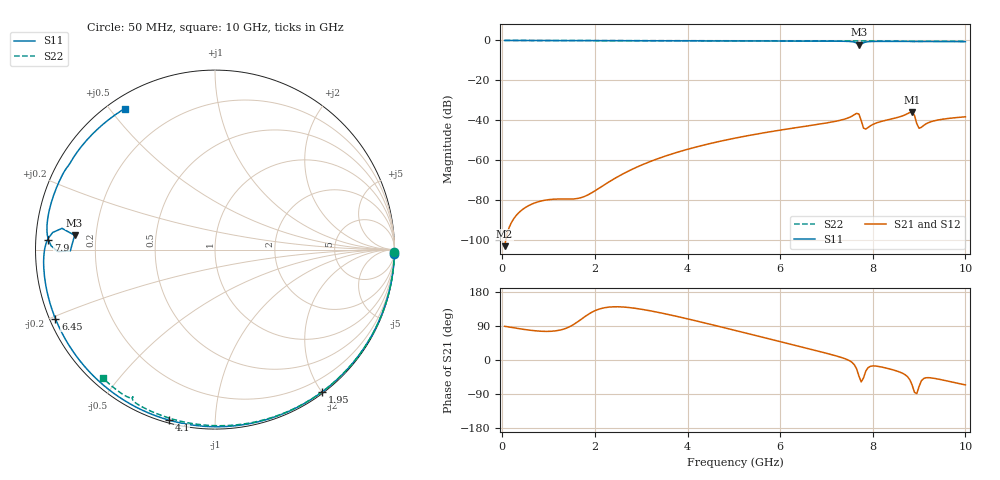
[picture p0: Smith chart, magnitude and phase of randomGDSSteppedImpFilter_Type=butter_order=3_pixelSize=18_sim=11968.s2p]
! freq	dB(S11)	phase(S11)	dB(S12)	phase(S12)
!  dB(S21)	phase(S21)	dB(S22)	phase(S22)
!S-par simulation data
#  GHz  S  DB  R 50
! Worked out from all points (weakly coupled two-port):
!   200 points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, 50 MHz to 10 GHz, reference 50 ohm
!   highest |S21| = -35.82 dB at 8.85 GHz (marker M1); lowest = -102.9 dB at 50 MHz (marker M2)
!   lowest |S11| = -2.1 dB at 7.7 GHz (marker M3), VSWR 8.35, Z = 6 + j2.51 ohm
!   |S11| at or under -10 dB: nowhere
!   |S22| runs from -0.6 to 0.0 dB; largest |S21 - S12| = 0
!   S11 on the Smith chart (normalised r, x): 50 MHz: 0, -81; 1.95 GHz: 0.02, -2.01; 4.1 GHz: 0.01, -0.77; 6.45 GHz: 0.02, -0.21; 7.9 GHz: 0.04, +0.03; 10 GHz: 0.05, +0.55
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0.05  -0.00 -1.4  -102.94 89.0  -102.94 89.0  -0.00 -0.8
0.85  -0.03 -23.5  -80.27 75.8  -80.27 75.8  -0.02 -12.8
1.75  -0.06 -47.7  -78.28 111.5  -78.28 111.5  -0.03 -26.2
1.95  -0.07 -52.9  -75.98 127.1  -75.98 127.1  -0.04 -29.1
2.65  -0.09 -70.7  -66.23 139.5  -66.23 139.5  -0.05 -39.3
3.4  -0.11 -88.9  -58.82 124.9  -58.82 124.9  -0.07 -49.9
4.1  -0.14 -105.2  -53.83 105.7  -53.83 105.7  -0.08 -59.5
5.05  -0.18 -126.3  -48.77 77.4  -48.77 77.4  -0.11 -72.2
6.45  -0.27 -156.6  -43.26 34.8  -43.26 34.8  -0.17 -90.0
6.7  -0.30 -162.1  -42.39 27.1  -42.39 27.1  -0.18 -93.1
7.5  -0.52 177.9  -38.45 -2.0  -38.45 -2.0  -0.22 -102.7
7.65  -1.31 172.1  -36.49 -23.1  -36.49 -23.1  -0.23 -104.5
7.7  -2.09 174.2  -36.80 -42.1  -36.80 -42.1  -0.24 -105.1
7.8  -1.15 -179.3  -43.84 -47.3  -43.84 -47.3  -0.25 -106.3
7.9  -0.63 176.6  -43.53 -20.0  -43.53 -20.0  -0.25 -107.5
8.35  -0.45 163.8  -39.57 -23.1  -39.57 -23.1  -0.29 -112.8
8.85  -0.50 151.4  -35.82 -66.0  -35.82 -66.0  -0.47 -119.2
8.9  -0.53 150.2  -37.47 -85.1  -37.47 -85.1  -0.55 -119.2
8.95  -0.53 149.1  -41.62 -88.9  -41.62 -88.9  -0.51 -119.1
9  -0.53 148.0  -43.96 -69.8  -43.96 -69.8  -0.45 -119.5
9.35  -0.54 139.3  -40.08 -48.9  -40.08 -48.9  -0.39 -123.8
10  -0.60 122.6  -38.21 -65.8  -38.21 -65.8  -0.45 -131.3
